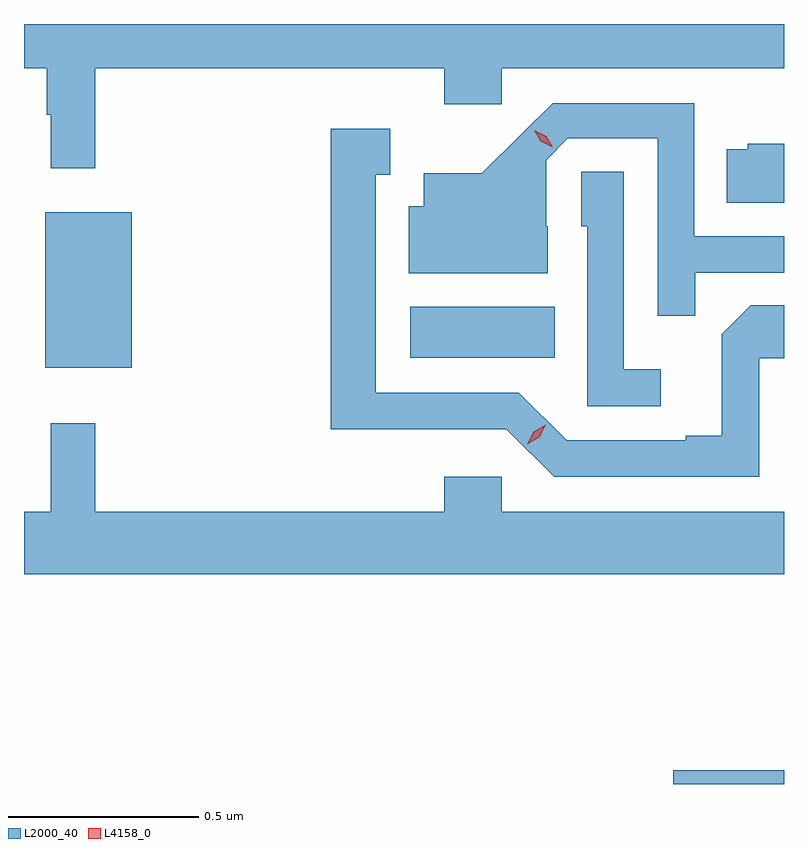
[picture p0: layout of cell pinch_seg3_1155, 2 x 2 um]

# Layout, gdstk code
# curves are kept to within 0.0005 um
import gdstk
lib = gdstk.Library(unit=1e-6, precision=1e-09)
def R(c, l, rs):  # rectangles x0, y0, x1, y1
    for r in rs: c.add(gdstk.rectangle(r[:2], r[2:], *l))
def P(c, l, *ps):  # polygons
    for p in ps: c.add(gdstk.Polygon(p, *l))
L2000_40 = (2000, 40)
L4158_0 = (4158, 0)

pinch_seg3_1155 = lib.new_cell('pinch_seg3_1155')
R(pinch_seg3_1155, L2000_40, [(348.746,712.352,349.037,712.388), (347.093,713.447,347.32,713.857), (348.054,713.474,348.434,713.608)])
P(pinch_seg3_1155, L2000_40, [(347.225,714.236),(348.143,714.236),(348.143,714.141),(348.294,714.141),(348.294,714.236),(349.037,714.236),(349.037,714.352),(347.037,714.352),(347.037,714.236),(347.097,714.236),(347.097,714.113),(347.108,714.113),(347.108,713.973),(347.225,713.973)],
  [(348.803,713.697),(349.037,713.697),(349.037,713.793),(348.801,713.793),(348.801,714.144),(348.428,714.144),(348.241,713.959),(348.089,713.959),(348.089,713.872),(348.05,713.872),(348.05,713.696),(348.415,713.696),(348.415,713.82),(348.411,713.82),(348.411,713.994),(348.468,714.051),(348.705,714.051),(348.705,713.584),(348.803,713.584)],
  [(348.972,713.472),(349.037,713.472),(349.037,713.612),(348.949,713.612),(348.873,713.536),(348.873,713.269),(348.779,713.269),(348.779,713.256),(348.465,713.256),(348.339,713.382),(347.962,713.382),(347.962,713.955),(348.001,713.955),(348.001,714.076),(347.844,714.076),(347.844,713.285),(348.084,713.285),(348.084,713.286),(348.306,713.286),(348.432,713.16),(348.972,713.16)],
  [(349.037,714.037),(348.942,714.037),(348.942,714.022),(348.886,714.022),(348.886,713.882),(349.037,713.882)],
  [(348.712,713.443),(348.615,713.443),(348.615,713.963),(348.504,713.963),(348.504,713.82),(348.519,713.82),(348.519,713.346),(348.712,713.346)],
  [(349.037,713.068),(348.294,713.068),(348.294,713.161),(348.143,713.161),(348.143,713.068),(347.225,713.068),(347.225,713.302),(347.108,713.302),(347.108,713.068),(347.037,713.068),(347.037,712.904),(349.037,712.904)])
P(pinch_seg3_1155, L4158_0, [(348.428,714.028),(348.397,714.043),(348.38,714.072),(348.38,714.073),(348.38,714.073),(348.411,714.057),(348.428,714.028),(348.428,714.028)],
  [(348.361,713.246),(348.361,713.246),(348.378,713.279),(348.41,713.297),(348.41,713.297),(348.41,713.297),(348.393,713.265),(348.361,713.246)])

lib.write_gds('pinch_seg3_1155.gds')
